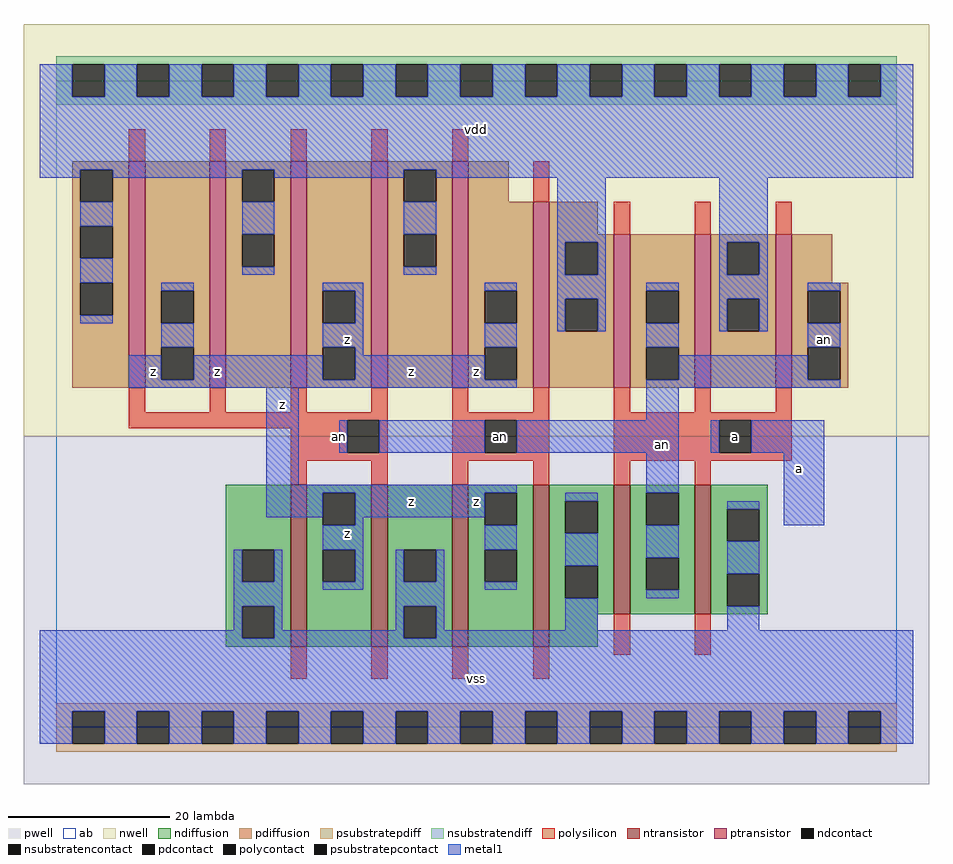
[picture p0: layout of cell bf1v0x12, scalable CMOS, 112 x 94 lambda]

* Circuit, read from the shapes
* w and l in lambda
.subckt bf1v0x12 a an vdd vss z
M1 z an vss vss nfet w=20 l=2 m=4
M2 an a vss vss nfet w=16 l=2 m=2
M3 z an vdd vdd pfet w=28 l=2 m=5
M4 vdd an z vdd pfet w=23 l=2
M5 an a vdd vdd pfet w=19 l=2 m=3
.ends

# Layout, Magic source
magic
tech scmos
<< ab >>
rect 0 0 104 80
<< pwell >>
rect -4 -7 108 36
<< nwell >>
rect -4 36 108 87
<< polysilicon >>
rect 9 70 11 74
rect 19 70 21 74
rect 29 70 31 74
rect 39 70 41 74
rect 49 70 51 74
rect 59 65 61 70
rect 69 61 71 65
rect 79 61 81 65
rect 89 61 91 65
rect 9 39 11 42
rect 19 39 21 42
rect 29 39 31 42
rect 39 39 41 42
rect 9 38 41 39
rect 9 37 36 38
rect 29 34 36 37
rect 40 34 41 38
rect 29 33 41 34
rect 29 30 31 33
rect 39 30 41 33
rect 49 39 51 42
rect 59 39 61 42
rect 49 38 61 39
rect 49 34 53 38
rect 57 34 61 38
rect 49 33 61 34
rect 49 30 51 33
rect 59 30 61 33
rect 69 39 71 42
rect 79 39 81 42
rect 89 39 91 42
rect 69 38 91 39
rect 69 34 82 38
rect 86 34 91 38
rect 69 33 91 34
rect 69 30 71 33
rect 79 30 81 33
rect 29 6 31 10
rect 39 6 41 10
rect 49 6 51 10
rect 59 6 61 10
rect 69 9 71 14
rect 79 9 81 14
<< ndiffusion >>
rect 21 22 29 30
rect 21 18 23 22
rect 27 18 29 22
rect 21 15 29 18
rect 21 11 23 15
rect 27 11 29 15
rect 21 10 29 11
rect 31 29 39 30
rect 31 25 33 29
rect 37 25 39 29
rect 31 22 39 25
rect 31 18 33 22
rect 37 18 39 22
rect 31 10 39 18
rect 41 22 49 30
rect 41 18 43 22
rect 47 18 49 22
rect 41 15 49 18
rect 41 11 43 15
rect 47 11 49 15
rect 41 10 49 11
rect 51 29 59 30
rect 51 25 53 29
rect 57 25 59 29
rect 51 22 59 25
rect 51 18 53 22
rect 57 18 59 22
rect 51 10 59 18
rect 61 28 69 30
rect 61 24 63 28
rect 67 24 69 28
rect 61 20 69 24
rect 61 16 63 20
rect 67 16 69 20
rect 61 14 69 16
rect 71 29 79 30
rect 71 25 73 29
rect 77 25 79 29
rect 71 21 79 25
rect 71 17 73 21
rect 77 17 79 21
rect 71 14 79 17
rect 81 27 88 30
rect 81 23 83 27
rect 87 23 88 27
rect 81 19 88 23
rect 81 15 83 19
rect 87 15 88 19
rect 81 14 88 15
rect 61 10 67 14
<< pdiffusion >>
rect 2 69 9 70
rect 2 65 3 69
rect 7 65 9 69
rect 2 62 9 65
rect 2 58 3 62
rect 7 58 9 62
rect 2 55 9 58
rect 2 51 3 55
rect 7 51 9 55
rect 2 42 9 51
rect 11 54 19 70
rect 11 50 13 54
rect 17 50 19 54
rect 11 47 19 50
rect 11 43 13 47
rect 17 43 19 47
rect 11 42 19 43
rect 21 69 29 70
rect 21 65 23 69
rect 27 65 29 69
rect 21 61 29 65
rect 21 57 23 61
rect 27 57 29 61
rect 21 42 29 57
rect 31 54 39 70
rect 31 50 33 54
rect 37 50 39 54
rect 31 47 39 50
rect 31 43 33 47
rect 37 43 39 47
rect 31 42 39 43
rect 41 69 49 70
rect 41 65 43 69
rect 47 65 49 69
rect 41 61 49 65
rect 41 57 43 61
rect 47 57 49 61
rect 41 42 49 57
rect 51 65 56 70
rect 51 54 59 65
rect 51 50 53 54
rect 57 50 59 54
rect 51 47 59 50
rect 51 43 53 47
rect 57 43 59 47
rect 51 42 59 43
rect 61 61 67 65
rect 61 60 69 61
rect 61 56 63 60
rect 67 56 69 60
rect 61 53 69 56
rect 61 49 63 53
rect 67 49 69 53
rect 61 42 69 49
rect 71 54 79 61
rect 71 50 73 54
rect 77 50 79 54
rect 71 47 79 50
rect 71 43 73 47
rect 77 43 79 47
rect 71 42 79 43
rect 81 60 89 61
rect 81 56 83 60
rect 87 56 89 60
rect 81 53 89 56
rect 81 49 83 53
rect 87 49 89 53
rect 81 42 89 49
rect 91 55 96 61
rect 91 54 98 55
rect 91 50 93 54
rect 97 50 98 54
rect 91 47 98 50
rect 91 43 93 47
rect 97 43 98 47
rect 91 42 98 43
<< metal1 >>
rect -2 78 2 82
rect 6 78 10 82
rect 14 78 18 82
rect 22 78 26 82
rect 30 78 34 82
rect 38 78 42 82
rect 46 78 50 82
rect 54 78 58 82
rect 62 78 66 82
rect 70 78 74 82
rect 78 78 82 82
rect 86 78 90 82
rect 94 78 98 82
rect 102 78 106 82
rect -2 69 106 78
rect -2 68 3 69
rect 7 68 23 69
rect 3 62 7 65
rect 3 55 7 58
rect 27 68 43 69
rect 23 61 27 65
rect 23 56 27 57
rect 47 68 106 69
rect 43 61 47 65
rect 43 56 47 57
rect 62 60 68 68
rect 62 56 63 60
rect 67 56 68 60
rect 3 50 7 51
rect 13 54 17 55
rect 13 47 17 50
rect 9 43 13 46
rect 33 54 38 55
rect 37 50 38 54
rect 33 47 38 50
rect 17 43 33 46
rect 37 46 38 47
rect 53 54 57 55
rect 53 47 57 50
rect 62 53 68 56
rect 82 60 88 68
rect 82 56 83 60
rect 87 56 88 60
rect 62 49 63 53
rect 67 49 68 53
rect 73 54 77 55
rect 37 43 53 46
rect 9 42 57 43
rect 73 47 77 50
rect 82 53 88 56
rect 82 49 83 53
rect 87 49 88 53
rect 93 54 97 55
rect 93 47 97 50
rect 77 43 93 46
rect 73 42 97 43
rect 26 30 30 42
rect 73 38 77 42
rect 35 34 36 38
rect 40 34 53 38
rect 57 34 77 38
rect 81 34 82 38
rect 86 34 95 38
rect 26 29 57 30
rect 73 29 77 34
rect 26 26 33 29
rect 37 26 53 29
rect 37 25 38 26
rect 33 22 38 25
rect 53 22 57 25
rect 22 18 23 22
rect 27 18 28 22
rect 22 15 28 18
rect 37 18 38 22
rect 33 17 38 18
rect 42 18 43 22
rect 47 18 48 22
rect 22 12 23 15
rect -2 11 23 12
rect 27 12 28 15
rect 42 15 48 18
rect 53 17 57 18
rect 63 28 67 29
rect 63 20 67 24
rect 42 12 43 15
rect 27 11 43 12
rect 47 12 48 15
rect 73 21 77 25
rect 73 16 77 17
rect 83 27 87 28
rect 90 25 95 34
rect 83 19 87 23
rect 63 12 67 16
rect 83 12 87 15
rect 47 11 106 12
rect -2 2 106 11
rect -2 -2 2 2
rect 6 -2 10 2
rect 14 -2 18 2
rect 22 -2 26 2
rect 30 -2 34 2
rect 38 -2 42 2
rect 46 -2 50 2
rect 54 -2 58 2
rect 62 -2 66 2
rect 70 -2 74 2
rect 78 -2 82 2
rect 86 -2 90 2
rect 94 -2 98 2
rect 102 -2 106 2
<< ntransistor >>
rect 29 10 31 30
rect 39 10 41 30
rect 49 10 51 30
rect 59 10 61 30
rect 69 14 71 30
rect 79 14 81 30
<< ptransistor >>
rect 9 42 11 70
rect 19 42 21 70
rect 29 42 31 70
rect 39 42 41 70
rect 49 42 51 70
rect 59 42 61 65
rect 69 42 71 61
rect 79 42 81 61
rect 89 42 91 61
<< polycontact >>
rect 36 34 40 38
rect 53 34 57 38
rect 82 34 86 38
<< ndcontact >>
rect 23 18 27 22
rect 23 11 27 15
rect 33 25 37 29
rect 33 18 37 22
rect 43 18 47 22
rect 43 11 47 15
rect 53 25 57 29
rect 53 18 57 22
rect 63 24 67 28
rect 63 16 67 20
rect 73 25 77 29
rect 73 17 77 21
rect 83 23 87 27
rect 83 15 87 19
<< pdcontact >>
rect 3 65 7 69
rect 3 58 7 62
rect 3 51 7 55
rect 13 50 17 54
rect 13 43 17 47
rect 23 65 27 69
rect 23 57 27 61
rect 33 50 37 54
rect 33 43 37 47
rect 43 65 47 69
rect 43 57 47 61
rect 53 50 57 54
rect 53 43 57 47
rect 63 56 67 60
rect 63 49 67 53
rect 73 50 77 54
rect 73 43 77 47
rect 83 56 87 60
rect 83 49 87 53
rect 93 50 97 54
rect 93 43 97 47
<< psubstratepcontact >>
rect 2 -2 6 2
rect 10 -2 14 2
rect 18 -2 22 2
rect 26 -2 30 2
rect 34 -2 38 2
rect 42 -2 46 2
rect 50 -2 54 2
rect 58 -2 62 2
rect 66 -2 70 2
rect 74 -2 78 2
rect 82 -2 86 2
rect 90 -2 94 2
rect 98 -2 102 2
<< nsubstratencontact >>
rect 2 78 6 82
rect 10 78 14 82
rect 18 78 22 82
rect 26 78 30 82
rect 34 78 38 82
rect 42 78 46 82
rect 50 78 54 82
rect 58 78 62 82
rect 66 78 70 82
rect 74 78 78 82
rect 82 78 86 82
rect 90 78 94 82
rect 98 78 102 82
<< psubstratepdiff >>
rect 0 2 104 3
rect 0 -2 2 2
rect 6 -2 10 2
rect 14 -2 18 2
rect 22 -2 26 2
rect 30 -2 34 2
rect 38 -2 42 2
rect 46 -2 50 2
rect 54 -2 58 2
rect 62 -2 66 2
rect 70 -2 74 2
rect 78 -2 82 2
rect 86 -2 90 2
rect 94 -2 98 2
rect 102 -2 104 2
rect 0 -3 104 -2
<< nsubstratendiff >>
rect 0 82 104 83
rect 0 78 2 82
rect 6 78 10 82
rect 14 78 18 82
rect 22 78 26 82
rect 30 78 34 82
rect 38 78 42 82
rect 46 78 50 82
rect 54 78 58 82
rect 62 78 66 82
rect 70 78 74 82
rect 78 78 82 82
rect 86 78 90 82
rect 94 78 98 82
rect 102 78 104 82
rect 0 77 104 78
<< labels >>
rlabel polysilicon 35 36 35 36 6 an
rlabel polycontact 55 36 55 36 6 an
rlabel metal1 12 44 12 44 6 z
rlabel metal1 36 24 36 24 6 z
rlabel metal1 20 44 20 44 6 z
rlabel metal1 28 40 28 40 6 z
rlabel metal1 36 48 36 48 6 z
rlabel metal1 52 6 52 6 6 vss
rlabel metal1 44 28 44 28 6 z
rlabel metal1 52 28 52 28 6 z
rlabel metal1 44 44 44 44 6 z
rlabel metal1 52 44 52 44 6 z
rlabel metal1 52 74 52 74 6 vdd
rlabel polycontact 56 36 56 36 6 an
rlabel metal1 75 35 75 35 6 an
rlabel metal1 92 32 92 32 6 a
rlabel polycontact 84 36 84 36 6 a
rlabel metal1 95 48 95 48 6 an
<< end >>
